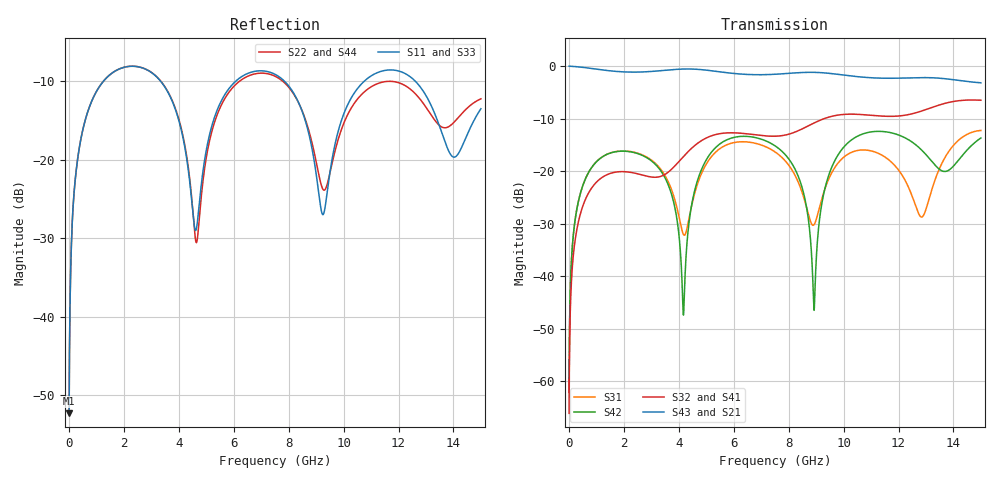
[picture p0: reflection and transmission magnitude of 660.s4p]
! Created with skrf 1.8.0 (http://scikit-rf.org).
# GHz S RI R 50.0
!freq ReS11 ImS11 ReS12 ImS12 ReS13 ImS13
! ReS14 ImS14
! ReS21 ImS21 ReS22 ImS22 ReS23 ImS23
! ReS24 ImS24
! ReS31 ImS31 ReS32 ImS32 ReS33 ImS33
! ReS34 ImS34
! ReS41 ImS41 ReS42 ImS42 ReS43 ImS43
! ReS44 ImS44
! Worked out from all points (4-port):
!   2499 points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, 5 MHz to 15 GHz, reference 50 ohm
!   strongest paths, dB at 5 MHz, 3.476 GHz, 7.19 GHz, 11.1 GHz, 15 GHz:
!     S43: 0.0, -0.8, -1.6, -2.3, -3.2
!     S21: 0.0, -0.8, -1.6, -2.3, -3.2
!     S32: -66.2, -20.7, -13.3, -9.4, -6.5
!     S41: -66.2, -20.7, -13.3, -9.4, -6.5
!     S42: -62.2, -21.1, -14.3, -12.5, -13.7
!     S31: -62.2, -20.7, -15.4, -16.3, -12.3
!   lowest |S11| = -52.3 dB at 5 MHz (marker M1), VSWR 1.00, Z = 50.2 + j0.148 ohm
!   |S11| at or under -10 dB: 3.332 GHz to 6.078 GHz (2.745 GHz wide, 58.3 % of centre); 7.84 GHz to 10.76 GHz (2.918 GHz wide, 31.4 % of centre); 12.61 GHz to end of sweep (the widest 3 of 4)
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0.005  0.00194 0.00147  0.998 -0.00377  9.83e-05 0.00077  -9.54e-05 -0.000483
       0.998 -0.00377  0.00194 0.00147  -9.54e-05 -0.000483  9.83e-05 0.00077
       9.83e-05 0.00077  -9.54e-05 -0.000483  0.00194 0.00147  0.998 -0.00377
       -9.54e-05 -0.000483  9.83e-05 0.00077  0.998 -0.00377  0.00194 0.00147
1.3193  0.2722 0.1775  0.5455 -0.7308  0.1286 0.0601  -0.0904 -0.00573
        0.5455 -0.7308  0.2725 0.1773  -0.0904 -0.00574  0.1276 0.0614
        0.1286 0.0601  -0.0904 -0.00574  0.2723 0.1775  0.5455 -0.7309
        -0.0904 -0.00573  0.1276 0.0614  0.5455 -0.7309  0.2725 0.1773
4.164235  0.0699 -0.115  -0.8624 -0.3672  -0.0224 -0.0112  -0.0494 0.1279
          -0.8624 -0.3672  0.0671 -0.1207  -0.0495 0.1279  0.00426 0.000119
          -0.0224 -0.0112  -0.0495 0.1279  0.0703 -0.1163  -0.8621 -0.3673
          -0.0494 0.1279  0.00426 0.000119  -0.8621 -0.3673  0.0679 -0.1219
5.483535  0.1646 0.1524  -0.762 0.4436  0.1123 0.1177  0.149 0.1709
          -0.762 0.4436  0.1484 0.1492  0.1489 0.1711  0.1522 0.0969
          0.1123 0.1177  0.1489 0.1711  0.1635 0.1514  -0.7622 0.4439
          0.149 0.1709  0.1522 0.0969  -0.7622 0.4439  0.148 0.1476
8.922468  0.0613 -0.0789  0.7976 0.3516  -0.0307 0.00209  0.1081 -0.2658
          0.7976 0.3516  0.0823 -0.0771  0.108 -0.2658  -0.00468 0.000546
          -0.0307 0.00209  0.108 -0.2658  0.0635 -0.0782  0.7985 0.3496
          0.1081 -0.2658  -0.00468 0.000546  0.7985 0.3496  0.0797 -0.0785
9.347645  0.0473 0.023  0.8541 0.095  -0.0105 0.0702  0.0238 -0.3188
          0.8541 0.095  0.0648 0.00929  0.0238 -0.3186  0.0357 0.0634
          -0.0105 0.0702  0.0238 -0.3186  0.0502 0.0228  0.8543 0.0925
          0.0238 -0.3188  0.0357 0.0634  0.8543 0.0925  0.062 0.00849
15  0.1939 0.0826  -0.6342 0.2829  0.1833 0.1605  0.2574 0.3981
    -0.6342 0.2829  0.2406 0.0389  0.2566 0.3971  0.1861 0.0899
    0.1833 0.1605  0.2566 0.3971  0.2024 0.0842  -0.6284 0.2918
    0.2574 0.3981  0.1861 0.0899  -0.6284 0.2918  0.2406 0.0435
